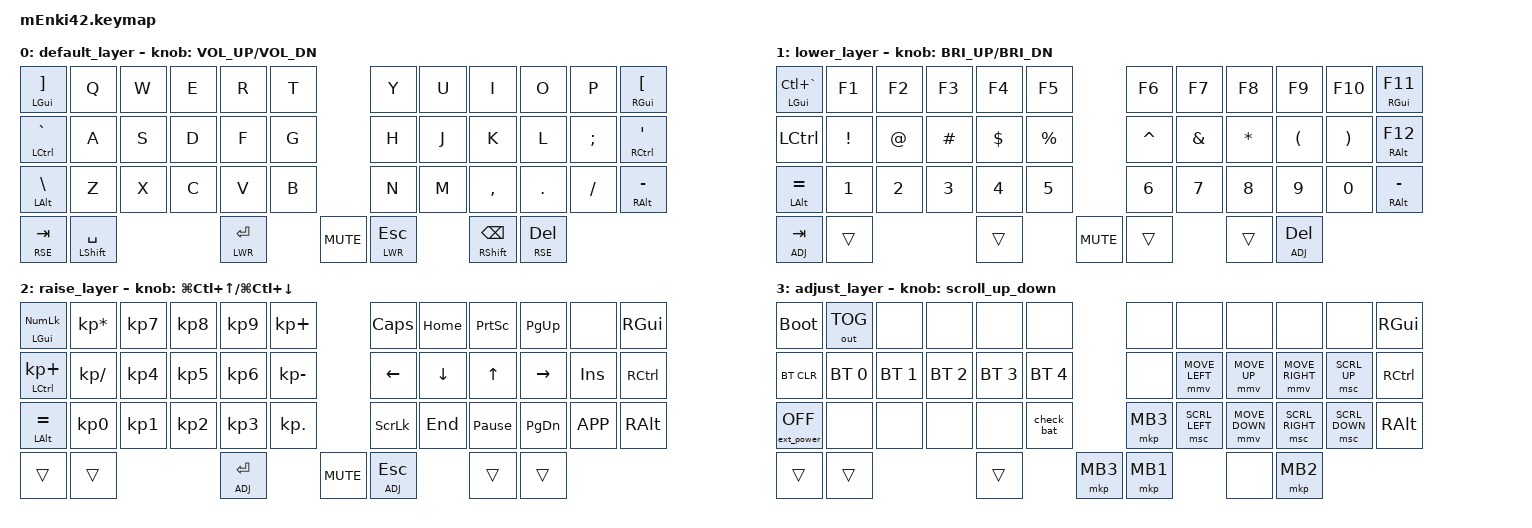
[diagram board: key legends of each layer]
/*
 * Copyright (c) 2020 The ZMK Contributors
 *
 * SPDX-License-Identifier: MIT
 */

#include <behaviors.dtsi>
#include <dt-bindings/zmk/keys.h>
#include <dt-bindings/zmk/bt.h>
#include <dt-bindings/zmk/outputs.h>
#include <dt-bindings/zmk/pointing.h>
#include <dt-bindings/zmk/ext_power.h>
 
#define DEF 0
#define LWR 1
#define RSE 2
#define ADJ 3

&lt {
    quick_tap_ms = <220>;
    tapping-term-ms = <280>;
    require-prior-idle-ms = <150>;
    flavor = "balanced";
};

&mt {
    quick_tap_ms = <220>;
    tapping-term-ms = <280>;
    require-prior-idle-ms = <150>;
    flavor = "balanced";
};

/ {
    behaviors {
        scroll_up_down: behavior_sensor_rotate_mouse_wheel_up_down {
            compatible = "zmk,behavior-sensor-rotate";
            #sensor-binding-cells = <0>;
            bindings = <&msc SCRL_UP>, <&msc SCRL_DOWN>;
            tap-ms = <20>;
        };
        scroll_left_right: behavior_sensor_rotate_mouse_wheel_left_right {
            compatible = "zmk,behavior-sensor-rotate";
            #sensor-binding-cells = <0>;
            bindings = <&msc SCRL_LEFT>, <&msc SCRL_RIGHT>;
            tap-ms = <20>;
        };
    };
};

/ {
        keymap {
                compatible = "zmk,keymap";

                default_layer {
//-------------------------------------------------------------------------------
//|LGUI/]|  Q  |  W  |  E  |  R  |  T  |   |  Y  |  U  |  I  |  O  |  P  |RGUI/[|
//|CTRL/`|  A  |  S  |  D  |  F  |  G  |   |  H  |  J  |  K  |  L  |  ;  |CTRL/'|
//|LALT/\|  Z  |  X  |  C  |  V  |  B  |   |  N  |  M  |  ,  |  .  |  /  |RALT/-|
//                   | RSE | SPC | LWR |   | LWR | BKSP| RSE |
//                            | VOLD | MUTE | VOLU |
                        bindings = <
  &mt LGUI RBKT   &kp Q &kp W &kp E &kp R &kp T              &kp Y  &kp U  &kp I     &kp O   &kp P    &mt RGUI LBKT
  &mt LCTRL GRAVE &kp A &kp S &kp D &kp F &kp G              &kp H  &kp J  &kp K     &kp L   &kp SEMI &mt RCTRL SQT
  &mt LALT  BSLH  &kp Z &kp X &kp C &kp V &kp B              &kp N  &kp M  &kp COMMA &kp DOT &kp FSLH &mt RALT MINUS
        &lt RSE TAB &mt LSHFT SPACE &lt LWR RET  &kp C_MUTE  &lt LWR ESC &mt RSHFT BSPC &lt RSE DEL
                        >;
                        sensor-bindings = <&inc_dec_kp C_VOL_UP C_VOL_DN>;
                };
                lower_layer {
//-------------------------------------------------------------------------------------
//|LGUI/TRM| F1  | F2 | F3  | F4  | F5  |    | F6  | F7  | F8  | F9  | F10 | RGUI/F11 |
//| CTRL   |  !  |  @ |  #  |  $  |  %  |    |  ^  |  &  |  *  |  (  |  )  | CTRL/F12 |
//| LALT/= |  1  |  2 |  3  |  4  |  5  |    |  6  |  7  |  8  |  9  |  0  | RALT/-   |
//                    | ADJ | ___ | ___ |    | ___ | ___ | ADJ |
//                         | BRIGHT DN | MUTE | BRIGHT UP |
                        bindings = <
 &mt LGUI LC(GRAVE)  &kp F1   &kp F2 &kp F3   &kp F4     &kp F5           &kp F6     &kp F7    &kp F8    &kp F9    &kp F10   &mt RGUI F11
 &kp LCTRL           &kp EXCL &kp AT &kp HASH &kp DOLLAR &kp PERCENT      &kp CARET  &kp AMPS  &kp STAR  &kp LPAR  &kp RPAR  &mt RALT F12
 &mt LALT EQUAL      &kp N1   &kp N2 &kp N3   &kp N4     &kp N5           &kp N6     &kp N7    &kp N8    &kp N9    &kp N0    &mt RALT MINUS
                                 &lt ADJ TAB &trans &trans   &kp C_MUTE  &trans &trans &lt ADJ DEL
                        >;
                        sensor-bindings = <&inc_dec_kp C_BRI_UP C_BRI_DN>;
                };
                raise_layer {
//----------------------------------------------------------------------------------------------
//|LGUI/NUML|K *  |K 7 |K 8  |K 9  |K +  |            | CAPS | HOME | PSCR| PGUP | ___  | RGUI |
//| CTRL/+  |K /  |K 4 |K 5  |K 6  |K -  |            | LEFT | DOWN | UP  | RGHT | INS  | CTRL |
//| LALT/=  |K 0  |K 1 |K 4  |K 3  |K .  |            | SLCK | END  |PAUSE| PGDN | MENU | RALT |
//                   | ___ | ___  | ADJ  |            | ADJ  | ___  | ___ |
//                                | DESK DN | MUTE | DESK UP |
                        bindings = <
&mt LGUI KP_NUM    &kp KP_MULTIPLY &kp KP_N7  &kp KP_N8  &kp KP_N9  &kp KP_PLUS        &kp CAPS  &kp HOME  &kp PSCRN       &kp PG_UP  &none       &kp RGUI
&mt LCTRL KP_PLUS  &kp KP_DIVIDE   &kp KP_N4  &kp KP_N5  &kp KP_N6  &kp KP_MINUS       &kp LEFT  &kp DOWN  &kp UP          &kp RIGHT  &kp INSERT  &kp RCTRL
&mt LALT EQUAL     &kp KP_N0       &kp KP_N1  &kp KP_N2  &kp KP_N3  &kp KP_DOT         &kp SLCK  &kp END   &kp PAUSE_BREAK &kp PG_DN  &kp K_APP   &kp RALT
                                              &trans  &trans  &lt ADJ RET    &kp C_MUTE    &lt ADJ ESC &trans &trans
                        >;
                        sensor-bindings = <&inc_dec_kp LG(LC(UP)) LG(LC(DOWN))>;
                };
                adjust_layer {
//------------------------------------------------------------------------------------------
//| BLDR |OUT T|     |     |     |     |   |        |        |       |        |        | RGUI |
//| BTCLR| BT0 | BT1 | BT2 | BT3 | BT4 |   |        |MS LEFT | MS UP |MS RIGHT|MS WH UP| CTRL |
//|pwrOFF|     |     |     |     |CBAT |   |MIDL CLK|MS WH LT|MS DOWN|MS WH RT|MS WH DN| RALT |
//                   | ___ | ___ | ___ |   |LEFT CLK|        | RIGHT CLK|
//                      | MS WH UP | MIDL CLK | MS WH DN |
                        bindings = <
&bootloader           &out OUT_TOG  &none        &none        &none        &none             &none     &none           &none           &none            &none           &kp RGUI
&bt BT_CLR            &bt BT_SEL 0  &bt BT_SEL 1 &bt BT_SEL 2 &bt BT_SEL 3 &bt BT_SEL 4      &none     &mmv MOVE_LEFT  &mmv MOVE_UP    &mmv MOVE_RIGHT  &msc SCRL_UP    &kp RCTRL
&ext_power EP_OFF     &none         &none        &none        &none        &check_bat        &mkp MB3  &msc SCRL_LEFT  &mmv MOVE_DOWN  &msc SCRL_RIGHT  &msc SCRL_DOWN  &kp RALT
                                                 &trans       &trans       &trans    &mkp MB3   &mkp MB1    &none   &mkp MB2
                        >;
                        sensor-bindings = <&scroll_up_down>;
                };
        };
};
